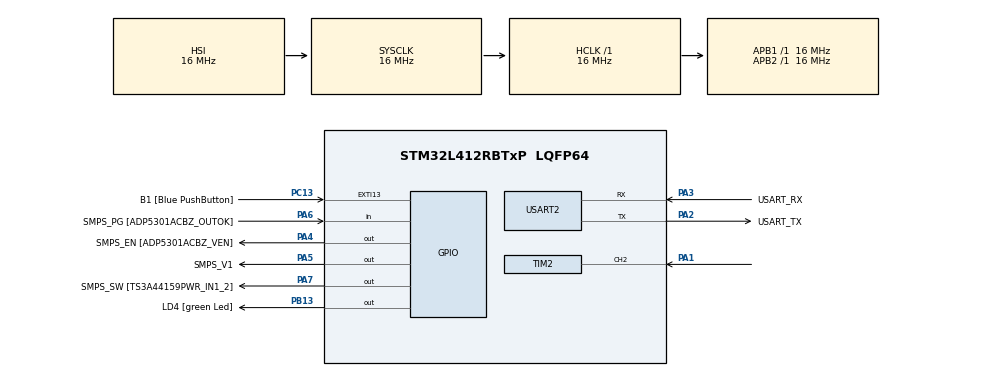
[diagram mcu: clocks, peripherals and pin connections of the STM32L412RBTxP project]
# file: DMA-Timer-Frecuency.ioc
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Dma.Request0=TIM2_CH2/CH4
Dma.TIM2_CH2/CH4.0.Direction=DMA_PERIPH_TO_MEMORY
Dma.TIM2_CH2/CH4.0.Instance=DMA1_Channel7
Dma.TIM2_CH2/CH4.0.MemDataAlignment=DMA_MDATAALIGN_WORD
Dma.TIM2_CH2/CH4.0.MemInc=DMA_MINC_ENABLE
Dma.TIM2_CH2/CH4.0.Mode=DMA_NORMAL
Dma.TIM2_CH2/CH4.0.PeriphDataAlignment=DMA_PDATAALIGN_WORD
Dma.TIM2_CH2/CH4.0.PeriphInc=DMA_PINC_DISABLE
Dma.TIM2_CH2/CH4.0.Priority=DMA_PRIORITY_HIGH
Mcu.Family=STM32L4
Mcu.Name=STM32L412RBTxP
Mcu.Package=LQFP64
NVIC.DMA1_Channel7_IRQn=true\:0\:0\:false\:false\:true\:false\:true
NVIC.PriorityGroup=NVIC_PRIORITYGROUP_4
PA1.Signal=S_TIM2_CH2
PA13\ (JTMS/SWDIO).GPIO_Label=TMS
PA13\ (JTMS/SWDIO).Mode=Serial_Wire
PA13\ (JTMS/SWDIO).Signal=SYS_JTMS-SWDIO
PA14\ (JTCK/SWCLK).GPIO_Label=TCK
PA14\ (JTCK/SWCLK).Mode=Serial_Wire
PA14\ (JTCK/SWCLK).Signal=SYS_JTCK-SWCLK
PA2.GPIO_Label=USART_TX
PA2.GPIO_PuPd=GPIO_NOPULL
PA2.GPIO_Speed=GPIO_SPEED_FREQ_VERY_HIGH
PA2.Mode=Asynchronous
PA2.Signal=USART2_TX
PA3.GPIO_Label=USART_RX
PA3.GPIO_PuPd=GPIO_NOPULL
PA3.GPIO_Speed=GPIO_SPEED_FREQ_VERY_HIGH
PA3.Mode=Asynchronous
PA3.Signal=USART2_RX
PA4.GPIO_Label=SMPS_EN [ADP5301ACBZ_VEN]
PA4.Signal=GPIO_Output
PA5.GPIO_Label=SMPS_V1
PA5.GPIO_ModeDefaultOutputPP=GPIO_MODE_OUTPUT_PP
PA5.GPIO_PuPd=GPIO_NOPULL
PA5.GPIO_Speed=GPIO_SPEED_FREQ_LOW
PA5.Signal=GPIO_Output
PA6.GPIO_Label=SMPS_PG [ADP5301ACBZ_OUTOK]
PA6.GPIO_PuPd=GPIO_PULLUP
PA6.Signal=GPIO_Input
PA7.GPIO_Label=SMPS_SW [TS3A44159PWR_IN1_2]
PA7.Signal=GPIO_Output
PB13.GPIO_Label=LD4 [green Led]
PB13.Signal=GPIO_Output
PB3\ (JTDO/TRACESWO).GPIO_Label=SWO
PB3\ (JTDO/TRACESWO).Signal=SYS_JTDO-SWO
PC13.GPIO_Label=B1 [Blue PushButton]
PC13.GPIO_ModeDefaultEXTI=GPIO_MODE_IT_FALLING
PC13.GPIO_PuPd=GPIO_NOPULL
PC13.Signal=GPXTI13
PC14-OSC32_IN\ (PC14).Mode=LSE-External-Oscillator
PC14-OSC32_IN\ (PC14).Signal=RCC_OSC32_IN
PC15-OSC32_OUT\ (PC15).Mode=LSE-External-Oscillator
PC15-OSC32_OUT\ (PC15).Signal=RCC_OSC32_OUT
PH0-OSC_IN\ (PH0).GPIO_Label=MCO
PH0-OSC_IN\ (PH0).Mode=HSE-External-Clock-Source
PH0-OSC_IN\ (PH0).Signal=RCC_OSC_IN
PH1-OSC_OUT\ (PH1).Signal=RCC_OSC_OUT
ProjectManager.HeapSize=0x200
ProjectManager.StackSize=0x400
ProjectManager.TargetToolchain=STM32CubeIDE
RCC.ADCFreq_Value=16000000
RCC.AHBFreq_Value=16000000
RCC.APB1Freq_Value=16000000
RCC.APB1TimFreq_Value=16000000
RCC.APB2Freq_Value=16000000
RCC.APB2TimFreq_Value=16000000
RCC.CortexFreq_Value=16000000
RCC.FLatency=FLASH_LATENCY_0
RCC.HCLKFreq_Value=16000000
RCC.HSE_VALUE=8000000
RCC.HSI48_VALUE=48000000
RCC.HSICalibrationValue=16
RCC.HSI_VALUE=16000000
RCC.MSIAutoCalibration=DISABLED
RCC.MSI_VALUE=4000000
RCC.PLLN=40
RCC.PREFETCH_ENABLE=1
RCC.SYSCLKFreq_VALUE=16000000
RCC.SYSCLKSource=RCC_SYSCLKSOURCE_HSI
RCC.USBFreq_Value=4000000
RCC.VCOOutputFreq_Value=160000000
SH.S_TIM2_CH2.0=TIM2_CH2,Input_Capture2_from_TI2
SH.S_TIM2_CH2.1=TIM2_CH2,Input_Capture1_from_TI2
SH.S_TIM2_CH2.2=TIM2_CH2,TriggerSource_TI2FP2
TIM2.AutoReloadPreload=TIM_AUTORELOAD_PRELOAD_DISABLE
TIM2.Channel-Input_Capture1_from_TI2=TIM_CHANNEL_1
TIM2.Channel-Input_Capture2_from_TI2=TIM_CHANNEL_2
TIM2.ICPolarity_CH1=TIM_INPUTCHANNELPOLARITY_FALLING
TIM2.Period=0xffffffff
TIM2.Prescaler=0
TIM2.TIM_MasterSlaveMode=TIM_MASTERSLAVEMODE_ENABLE
USART2.VirtualMode-Asynchronous=VM_ASYNC
VP_TIM2_VS_ClockSourceINT.Mode=Internal
VP_TIM2_VS_ControllerModeReset.Mode=Reset Mode
board=NUCLEO-L412RB-P

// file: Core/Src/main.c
/* USER CODE BEGIN Header */
/**
  ******************************************************************************
  * @file           : main.c
  * @brief          : Main program body
  ******************************************************************************
  * @attention
  *
  * <h2><center>&copy; Copyright (c) 2020 STMicroelectronics.
  * All rights reserved.</center></h2>
  *
  * This software component is licensed by ST under BSD 3-Clause license,
  * the "License"; You may not use this file except in compliance with the
  * License. You may obtain a copy of the License at:
  *                        opensource.org/licenses/BSD-3-Clause
  *
  ******************************************************************************
  */
/* USER CODE END Header */

#include "main.h"

TIM_HandleTypeDef htim2;
DMA_HandleTypeDef hdma_tim2_ch2_ch4;

UART_HandleTypeDef huart2;

/* USER CODE BEGIN PV */
/* Captured Value */
__IO uint32_t            uwIC2Value = 0;
/* Duty Cycle Value */
__IO uint32_t            uwDutyCycle = 0;
/* Frequency Value */
__IO uint32_t            uwFrequency = 0;
/* USER CODE END PV */

void SystemClock_Config(void);
static void MX_GPIO_Init(void);
static void MX_DMA_Init(void);
static void MX_USART2_UART_Init(void);
static void MX_TIM2_Init(void);

/* USER CODE BEGIN 0 */
/* ---------------------------------------------------------------------------
TIM3 configuration: PWM Input mode

In this example TIM3 input clock (TIM2CLK) is set to APB2 clock (PCLK1),
since APB2 prescaler is 1.
  TIM2CLK = PCLK2
  PCLK2 = HCLK
  => TIM2CLK = HCLK = SystemCoreClock

External Signal Frequency = TIM3 counter clock / TIM3_CCR2 in Hz.

External Signal DutyCycle = (TIM3_CCR1*100)/(TIM3_CCR2) in %.

--------------------------------------------------------------------------- */
void HAL_TIM_IC_CaptureCallback(TIM_HandleTypeDef *htim)
{
  if (htim->Channel == HAL_TIM_ACTIVE_CHANNEL_2)
  {
    /* Get the Input Capture value */
    uwIC2Value = HAL_TIM_ReadCapturedValue(htim, TIM_CHANNEL_2);

    if (uwIC2Value != 0)
    {
      /* Duty cycle computation */
      uwDutyCycle = ((HAL_TIM_ReadCapturedValue(htim, TIM_CHANNEL_1)) * 100) / uwIC2Value;

      /* uwFrequency computation
      TIM3 counter clock = (RCC_Clocks.HCLK_Frequency) */
  //uwFrequency = (HAL_RCC_GetHCLKFreq())  / uwIC2Value;
      uwFrequency = ( HAL_RCC_GetPCLK2Freq()) / uwIC2Value;

    }
    else
    {
      uwDutyCycle = 0;
      uwFrequency = 0;
    }
  }
}

/* USER CODE END 0 */

int main(void)
{

  /* MCU Configuration--------------------------------------------------------*/

  /* Reset of all peripherals, Initializes the Flash interface and the Systick. */
  HAL_Init();

  /* Configure the system clock */
  SystemClock_Config();

  /* Initialize all configured peripherals */
  MX_GPIO_Init();
  MX_DMA_Init();
  MX_USART2_UART_Init();
  MX_TIM2_Init();
  /* USER CODE BEGIN 2 */

  /*##-4- Start the Input Capture in interrupt mode ##########################*/
    if (HAL_TIM_IC_Start_IT(&TimHandle, TIM_CHANNEL_2) != HAL_OK)
    {
      /* Starting Error */
      Error_Handler();
    }

    /*##-5- Start the Input Capture in interrupt mode ##########################*/
    if (HAL_TIM_IC_Start_IT(&TimHandle, TIM_CHANNEL_1) != HAL_OK)
    {
      /* Starting Error */
      Error_Handler();
    }

  /* USER CODE END 2 */

  /* Infinite loop */
  while (1)
  {

  }
}

void SystemClock_Config(void)
{
  RCC_OscInitTypeDef RCC_OscInitStruct = {0};
  RCC_ClkInitTypeDef RCC_ClkInitStruct = {0};
  RCC_PeriphCLKInitTypeDef PeriphClkInit = {0};

  /** Configure the main internal regulator output voltage
  */
  if (HAL_PWREx_ControlVoltageScaling(PWR_REGULATOR_VOLTAGE_SCALE1) != HAL_OK)
  {
    Error_Handler();
  }
  /** Initializes the CPU, AHB and APB busses clocks
  */
  RCC_OscInitStruct.OscillatorType = RCC_OSCILLATORTYPE_HSI;
  RCC_OscInitStruct.HSIState = RCC_HSI_ON;
  RCC_OscInitStruct.HSICalibrationValue = 16;
  RCC_OscInitStruct.PLL.PLLState = RCC_PLL_NONE;
  if (HAL_RCC_OscConfig(&RCC_OscInitStruct) != HAL_OK)
  {
    Error_Handler();
  }
  /** Initializes the CPU, AHB and APB busses clocks
  */
  RCC_ClkInitStruct.ClockType = RCC_CLOCKTYPE_HCLK|RCC_CLOCKTYPE_SYSCLK
                              |RCC_CLOCKTYPE_PCLK1|RCC_CLOCKTYPE_PCLK2;
  RCC_ClkInitStruct.SYSCLKSource = RCC_SYSCLKSOURCE_HSI;
  RCC_ClkInitStruct.AHBCLKDivider = RCC_SYSCLK_DIV1;
  RCC_ClkInitStruct.APB1CLKDivider = RCC_HCLK_DIV1;
  RCC_ClkInitStruct.APB2CLKDivider = RCC_HCLK_DIV1;

  if (HAL_RCC_ClockConfig(&RCC_ClkInitStruct, FLASH_LATENCY_0) != HAL_OK)
  {
    Error_Handler();
  }
  PeriphClkInit.PeriphClockSelection = RCC_PERIPHCLK_USART2;
  PeriphClkInit.Usart2ClockSelection = RCC_USART2CLKSOURCE_PCLK1;
  if (HAL_RCCEx_PeriphCLKConfig(&PeriphClkInit) != HAL_OK)
  {
    Error_Handler();
  }
}

static void MX_TIM2_Init(void)
{

  TIM_ClockConfigTypeDef sClockSourceConfig = {0};
  TIM_SlaveConfigTypeDef sSlaveConfig = {0};
  TIM_MasterConfigTypeDef sMasterConfig = {0};
  TIM_IC_InitTypeDef sConfigIC = {0};

  htim2.Instance = TIM2;
  htim2.Init.Prescaler = 0;
  htim2.Init.CounterMode = TIM_COUNTERMODE_UP;
  htim2.Init.Period = 0xffffffff;
  htim2.Init.ClockDivision = TIM_CLOCKDIVISION_DIV1;
  htim2.Init.AutoReloadPreload = TIM_AUTORELOAD_PRELOAD_DISABLE;
  if (HAL_TIM_Base_Init(&htim2) != HAL_OK)
  {
    Error_Handler();
  }
  sClockSourceConfig.ClockSource = TIM_CLOCKSOURCE_INTERNAL;
  if (HAL_TIM_ConfigClockSource(&htim2, &sClockSourceConfig) != HAL_OK)
  {
    Error_Handler();
  }
  if (HAL_TIM_IC_Init(&htim2) != HAL_OK)
  {
    Error_Handler();
  }
  sSlaveConfig.SlaveMode = TIM_SLAVEMODE_RESET;
  sSlaveConfig.InputTrigger = TIM_TS_TI2FP2;
  sSlaveConfig.TriggerPolarity = TIM_INPUTCHANNELPOLARITY_RISING;
  sSlaveConfig.TriggerFilter = 0;
  if (HAL_TIM_SlaveConfigSynchro(&htim2, &sSlaveConfig) != HAL_OK)
  {
    Error_Handler();
  }
  sMasterConfig.MasterOutputTrigger = TIM_TRGO_RESET;
  sMasterConfig.MasterSlaveMode = TIM_MASTERSLAVEMODE_ENABLE;
  if (HAL_TIMEx_MasterConfigSynchronization(&htim2, &sMasterConfig) != HAL_OK)
  {
    Error_Handler();
  }
  sConfigIC.ICPolarity = TIM_INPUTCHANNELPOLARITY_FALLING;
  sConfigIC.ICSelection = TIM_ICSELECTION_INDIRECTTI;
  sConfigIC.ICPrescaler = TIM_ICPSC_DIV1;
  sConfigIC.ICFilter = 0;
  if (HAL_TIM_IC_ConfigChannel(&htim2, &sConfigIC, TIM_CHANNEL_1) != HAL_OK)
  {
    Error_Handler();
  }
  sConfigIC.ICPolarity = TIM_INPUTCHANNELPOLARITY_RISING;
  sConfigIC.ICSelection = TIM_ICSELECTION_DIRECTTI;
  if (HAL_TIM_IC_ConfigChannel(&htim2, &sConfigIC, TIM_CHANNEL_2) != HAL_OK)
  {
    Error_Handler();
  }

}

static void MX_USART2_UART_Init(void)
{

  huart2.Instance = USART2;
  huart2.Init.BaudRate = 115200;
  huart2.Init.WordLength = UART_WORDLENGTH_8B;
  huart2.Init.StopBits = UART_STOPBITS_1;
  huart2.Init.Parity = UART_PARITY_NONE;
  huart2.Init.Mode = UART_MODE_TX_RX;
  huart2.Init.HwFlowCtl = UART_HWCONTROL_NONE;
  huart2.Init.OverSampling = UART_OVERSAMPLING_16;
  huart2.Init.OneBitSampling = UART_ONE_BIT_SAMPLE_DISABLE;
  huart2.AdvancedInit.AdvFeatureInit = UART_ADVFEATURE_NO_INIT;
  if (HAL_UART_Init(&huart2) != HAL_OK)
  {
    Error_Handler();
  }

}

static void MX_DMA_Init(void)
{

  /* DMA controller clock enable */
  __HAL_RCC_DMA1_CLK_ENABLE();

  /* DMA interrupt init */
  /* DMA1_Channel7_IRQn interrupt configuration */
  HAL_NVIC_SetPriority(DMA1_Channel7_IRQn, 0, 0);
  HAL_NVIC_EnableIRQ(DMA1_Channel7_IRQn);

}

static void MX_GPIO_Init(void)
{
  GPIO_InitTypeDef GPIO_InitStruct = {0};

  /* GPIO Ports Clock Enable */
  __HAL_RCC_GPIOC_CLK_ENABLE();
  __HAL_RCC_GPIOH_CLK_ENABLE();
  __HAL_RCC_GPIOA_CLK_ENABLE();
  __HAL_RCC_GPIOB_CLK_ENABLE();

  /*Configure GPIO pin Output Level */
  HAL_GPIO_WritePin(GPIOA, SMPS_EN_Pin|SMPS_V1_Pin|SMPS_SW_Pin, GPIO_PIN_RESET);

  /*Configure GPIO pin Output Level */
  HAL_GPIO_WritePin(LD4_GPIO_Port, LD4_Pin, GPIO_PIN_RESET);

  /*Configure GPIO pin : B1_Pin */
  GPIO_InitStruct.Pin = B1_Pin;
  GPIO_InitStruct.Mode = GPIO_MODE_IT_FALLING;
  GPIO_InitStruct.Pull = GPIO_NOPULL;
  HAL_GPIO_Init(B1_GPIO_Port, &GPIO_InitStruct);

  /*Configure GPIO pins : SMPS_EN_Pin SMPS_V1_Pin SMPS_SW_Pin */
  GPIO_InitStruct.Pin = SMPS_EN_Pin|SMPS_V1_Pin|SMPS_SW_Pin;
  GPIO_InitStruct.Mode = GPIO_MODE_OUTPUT_PP;
  GPIO_InitStruct.Pull = GPIO_NOPULL;
  GPIO_InitStruct.Speed = GPIO_SPEED_FREQ_LOW;
  HAL_GPIO_Init(GPIOA, &GPIO_InitStruct);

  /*Configure GPIO pin : SMPS_PG_Pin */
  GPIO_InitStruct.Pin = SMPS_PG_Pin;
  GPIO_InitStruct.Mode = GPIO_MODE_INPUT;
  GPIO_InitStruct.Pull = GPIO_PULLUP;
  HAL_GPIO_Init(SMPS_PG_GPIO_Port, &GPIO_InitStruct);

  /*Configure GPIO pin : LD4_Pin */
  GPIO_InitStruct.Pin = LD4_Pin;
  GPIO_InitStruct.Mode = GPIO_MODE_OUTPUT_PP;
  GPIO_InitStruct.Pull = GPIO_NOPULL;
  GPIO_InitStruct.Speed = GPIO_SPEED_FREQ_LOW;
  HAL_GPIO_Init(LD4_GPIO_Port, &GPIO_InitStruct);

}

void Error_Handler(void)
{
}

/************************ (C) COPYRIGHT STMicroelectronics *****END OF FILE****/
